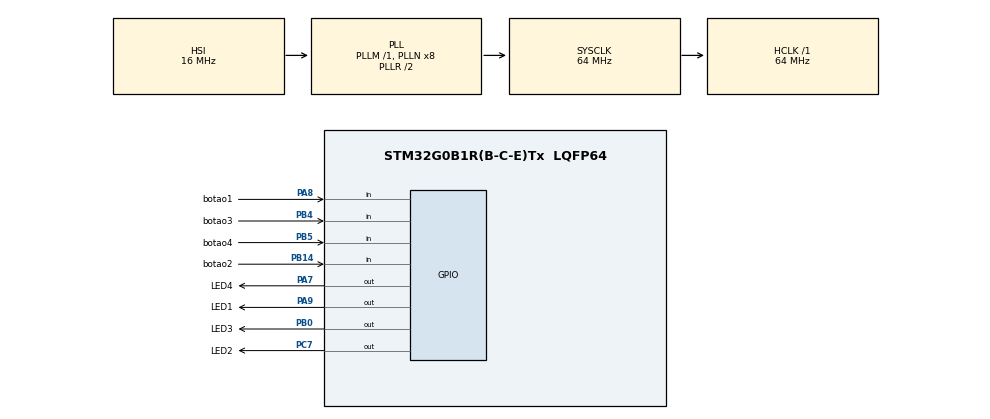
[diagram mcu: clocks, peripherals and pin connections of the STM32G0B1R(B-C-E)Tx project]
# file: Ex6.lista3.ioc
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Mcu.Family=STM32G0
Mcu.Name=STM32G0B1R(B-C-E)Tx
Mcu.Package=LQFP64
PA13.Mode=Serial_Wire
PA13.Signal=SYS_SWDIO
PA14-BOOT0.Mode=Serial_Wire
PA14-BOOT0.Signal=SYS_SWCLK
PA7.GPIO_Label=LED4
PA7.Signal=GPIO_Output
PA8.GPIO_Label=botao1
PA8.GPIO_PuPd=GPIO_PULLUP
PA8.Signal=GPIO_Input
PA9.GPIO_Label=LED1
PA9.Signal=GPIO_Output
PB0.GPIO_Label=LED3
PB0.Signal=GPIO_Output
PB14.GPIO_Label=botao2
PB14.GPIO_PuPd=GPIO_PULLUP
PB14.Signal=GPIO_Input
PB4.GPIO_Label=botao3
PB4.GPIO_PuPd=GPIO_PULLUP
PB4.Signal=GPIO_Input
PB5.GPIO_Label=botao4
PB5.GPIO_PuPd=GPIO_PULLUP
PB5.Signal=GPIO_Input
PC7.GPIO_Label=LED2
PC7.Signal=GPIO_Output
ProjectManager.HeapSize=0x200
ProjectManager.StackSize=0x400
ProjectManager.TargetToolchain=STM32CubeIDE
RCC.ADCFreq_Value=64000000
RCC.AHBFreq_Value=64000000
RCC.CortexFreq_Value=64000000
RCC.EXTERNAL_CLOCK_VALUE=48000
RCC.HCLKFreq_Value=64000000
RCC.HSE_VALUE=8000000
RCC.HSI48_VALUE=48000000
RCC.HSI_VALUE=16000000
RCC.LSE_VALUE=32768
RCC.SYSCLKFreq_VALUE=64000000
RCC.SYSCLKSource=RCC_SYSCLKSOURCE_PLLCLK
RCC.USBFreq_Value=48000000
RCC.VCOOutputFreq_Value=128000000
VP_SYS_VS_DBSignals.Mode=DisableDeadBatterySignals
board=custom

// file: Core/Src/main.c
/* USER CODE BEGIN Header */
/**
  ******************************************************************************
  * @file           : main.c
  * @brief          : Main program body
  ******************************************************************************
  * @attention
  *
  * Copyright (c) 2022 STMicroelectronics.
  * All rights reserved.
  *
  * This software is licensed under terms that can be found in the LICENSE file
  * in the root directory of this software component.
  * If no LICENSE file comes with this software, it is provided AS-IS.
  *
  ******************************************************************************
  */
/* USER CODE END Header */
#include "main.h"

#include<stdint.h>

/* USER CODE BEGIN PV */
uint8_t pisca1 = 0;
uint8_t pisca2 = 0;
uint8_t pisca3 = 0;
uint8_t pisca4 = 0;

/* USER CODE END PV */

void SystemClock_Config(void);
static void MX_GPIO_Init(void);

/* USER CODE BEGIN 0 */
void HAL_GPIO_EXTI_Falling_Callback(uint16_t GPIO_Pin){

	if (HAL_GPIO_ReadPin(botao1_GPIO_Port, botao1_Pin) == 0){
		pisca1++;
		if (pisca1 > 2) {
			pisca1 = 0;
		}
	} else if (HAL_GPIO_ReadPin(botao2_GPIO_Port, botao2_Pin) == 0){
		pisca2++;
		if (pisca2 > 2){
			pisca2 = 0;
		}
	} else if (HAL_GPIO_ReadPin(botao3_GPIO_Port, botao3_Pin) == 0){
		pisca3++;
		if (pisca3 > 2){
			pisca3 = 0;
		}
	} else {
		pisca4++;
		if (pisca4 > 2){
			pisca4 = 0;
		}
	}
}

/* USER CODE END 0 */

int main(void)
{

  /* MCU Configuration--------------------------------------------------------*/

  /* Reset of all peripherals, Initializes the Flash interface and the Systick. */
  HAL_Init();

  /* Configure the system clock */
  SystemClock_Config();

  /* Initialize all configured peripherals */
  MX_GPIO_Init();

  /* Infinite loop */
  /* USER CODE BEGIN WHILE */
  while (1)
  {

  	    HAL_GPIO_TogglePin(LED1_GPIO_Port, LED1_Pin);
  	    HAL_GPIO_TogglePin(LED2_GPIO_Port, LED2_Pin);
  	    HAL_GPIO_TogglePin(LED3_GPIO_Port, LED3_Pin);
  	    HAL_GPIO_TogglePin(LED4_GPIO_Port, LED4_Pin);

  	    HAL_Delay(50);

  	    if (pisca1 ==0){
  		    HAL_GPIO_TogglePin(LED1_GPIO_Port, LED1_Pin);

  	    }
  	    if (pisca2 ==0){
  	    	HAL_GPIO_TogglePin(LED2_GPIO_Port, LED2_Pin);

  	    }
  	    if (pisca3 ==0){
  	    	HAL_GPIO_TogglePin(LED3_GPIO_Port, LED3_Pin);

  	    }
  	    if (pisca4 ==0){
  	    	HAL_GPIO_TogglePin(LED4_GPIO_Port, LED4_Pin);

  	    }
  	    HAL_Delay(50);

  	    if (pisca1 == 0 || pisca1 == 1){

  	    	HAL_GPIO_TogglePin(LED1_GPIO_Port, LED1_Pin);

  		}
  		if (pisca2 ==0 || pisca2 == 1){
  			HAL_GPIO_TogglePin(LED2_GPIO_Port, LED2_Pin);

  		}
  		if (pisca3 ==0 || pisca3 == 1){
  			HAL_GPIO_TogglePin(LED3_GPIO_Port, LED3_Pin);

  		}
  		if (pisca4 ==0 || pisca4 == 1){
  			HAL_GPIO_TogglePin(LED4_GPIO_Port, LED4_Pin);

  		}
  		HAL_Delay(50);

  	    if (pisca1 ==0){
  		    HAL_GPIO_TogglePin(LED1_GPIO_Port, LED1_Pin);

  	    }
  	    if (pisca2 ==0){
  	    	HAL_GPIO_TogglePin(LED2_GPIO_Port, LED2_Pin);

  	    }
  	    if (pisca3 ==0){
  	    	HAL_GPIO_TogglePin(LED3_GPIO_Port, LED3_Pin);

  	    }
  	    if (pisca4 ==0){
  	    	HAL_GPIO_TogglePin(LED4_GPIO_Port, LED4_Pin);

  	    }
  	    HAL_Delay(50);

    /* USER CODE END WHILE */

  }
}

void SystemClock_Config(void)
{
  RCC_OscInitTypeDef RCC_OscInitStruct = {0};
  RCC_ClkInitTypeDef RCC_ClkInitStruct = {0};

  /** Configure the main internal regulator output voltage
  */
  HAL_PWREx_ControlVoltageScaling(PWR_REGULATOR_VOLTAGE_SCALE1);
  /** Initializes the RCC Oscillators according to the specified parameters
  * in the RCC_OscInitTypeDef structure.
  */
  RCC_OscInitStruct.OscillatorType = RCC_OSCILLATORTYPE_HSI;
  RCC_OscInitStruct.HSIState = RCC_HSI_ON;
  RCC_OscInitStruct.HSIDiv = RCC_HSI_DIV1;
  RCC_OscInitStruct.HSICalibrationValue = RCC_HSICALIBRATION_DEFAULT;
  RCC_OscInitStruct.PLL.PLLState = RCC_PLL_ON;
  RCC_OscInitStruct.PLL.PLLSource = RCC_PLLSOURCE_HSI;
  RCC_OscInitStruct.PLL.PLLM = RCC_PLLM_DIV1;
  RCC_OscInitStruct.PLL.PLLN = 8;
  RCC_OscInitStruct.PLL.PLLP = RCC_PLLP_DIV2;
  RCC_OscInitStruct.PLL.PLLQ = RCC_PLLQ_DIV2;
  RCC_OscInitStruct.PLL.PLLR = RCC_PLLR_DIV2;
  if (HAL_RCC_OscConfig(&RCC_OscInitStruct) != HAL_OK)
  {
    Error_Handler();
  }
  /** Initializes the CPU, AHB and APB buses clocks
  */
  RCC_ClkInitStruct.ClockType = RCC_CLOCKTYPE_HCLK|RCC_CLOCKTYPE_SYSCLK
                              |RCC_CLOCKTYPE_PCLK1;
  RCC_ClkInitStruct.SYSCLKSource = RCC_SYSCLKSOURCE_PLLCLK;
  RCC_ClkInitStruct.AHBCLKDivider = RCC_SYSCLK_DIV1;
  RCC_ClkInitStruct.APB1CLKDivider = RCC_HCLK_DIV1;

  if (HAL_RCC_ClockConfig(&RCC_ClkInitStruct, FLASH_LATENCY_2) != HAL_OK)
  {
    Error_Handler();
  }
}

static void MX_GPIO_Init(void)
{
  GPIO_InitTypeDef GPIO_InitStruct = {0};

  /* GPIO Ports Clock Enable */
  __HAL_RCC_GPIOA_CLK_ENABLE();
  __HAL_RCC_GPIOB_CLK_ENABLE();
  __HAL_RCC_GPIOC_CLK_ENABLE();

  /*Configure GPIO pin Output Level */
  HAL_GPIO_WritePin(GPIOA, LED4_Pin|LED1_Pin, GPIO_PIN_RESET);

  /*Configure GPIO pin Output Level */
  HAL_GPIO_WritePin(LED3_GPIO_Port, LED3_Pin, GPIO_PIN_RESET);

  /*Configure GPIO pin Output Level */
  HAL_GPIO_WritePin(LED2_GPIO_Port, LED2_Pin, GPIO_PIN_RESET);

  /*Configure GPIO pins : LED4_Pin LED1_Pin */
  GPIO_InitStruct.Pin = LED4_Pin|LED1_Pin;
  GPIO_InitStruct.Mode = GPIO_MODE_OUTPUT_PP;
  GPIO_InitStruct.Pull = GPIO_NOPULL;
  GPIO_InitStruct.Speed = GPIO_SPEED_FREQ_LOW;
  HAL_GPIO_Init(GPIOA, &GPIO_InitStruct);

  /*Configure GPIO pin : LED3_Pin */
  GPIO_InitStruct.Pin = LED3_Pin;
  GPIO_InitStruct.Mode = GPIO_MODE_OUTPUT_PP;
  GPIO_InitStruct.Pull = GPIO_NOPULL;
  GPIO_InitStruct.Speed = GPIO_SPEED_FREQ_LOW;
  HAL_GPIO_Init(LED3_GPIO_Port, &GPIO_InitStruct);

  /*Configure GPIO pins : botao2_Pin botao3_Pin botao4_Pin */
  GPIO_InitStruct.Pin = botao2_Pin|botao3_Pin|botao4_Pin;
  GPIO_InitStruct.Mode = GPIO_MODE_INPUT;
  GPIO_InitStruct.Pull = GPIO_PULLUP;
  HAL_GPIO_Init(GPIOB, &GPIO_InitStruct);

  /*Configure GPIO pin : botao1_Pin */
  GPIO_InitStruct.Pin = botao1_Pin;
  GPIO_InitStruct.Mode = GPIO_MODE_INPUT;
  GPIO_InitStruct.Pull = GPIO_PULLUP;
  HAL_GPIO_Init(botao1_GPIO_Port, &GPIO_InitStruct);

  /*Configure GPIO pin : LED2_Pin */
  GPIO_InitStruct.Pin = LED2_Pin;
  GPIO_InitStruct.Mode = GPIO_MODE_OUTPUT_PP;
  GPIO_InitStruct.Pull = GPIO_NOPULL;
  GPIO_InitStruct.Speed = GPIO_SPEED_FREQ_LOW;
  HAL_GPIO_Init(LED2_GPIO_Port, &GPIO_InitStruct);

}

void Error_Handler(void)
{
  __disable_irq();
  while (1)
  {
  }
}
